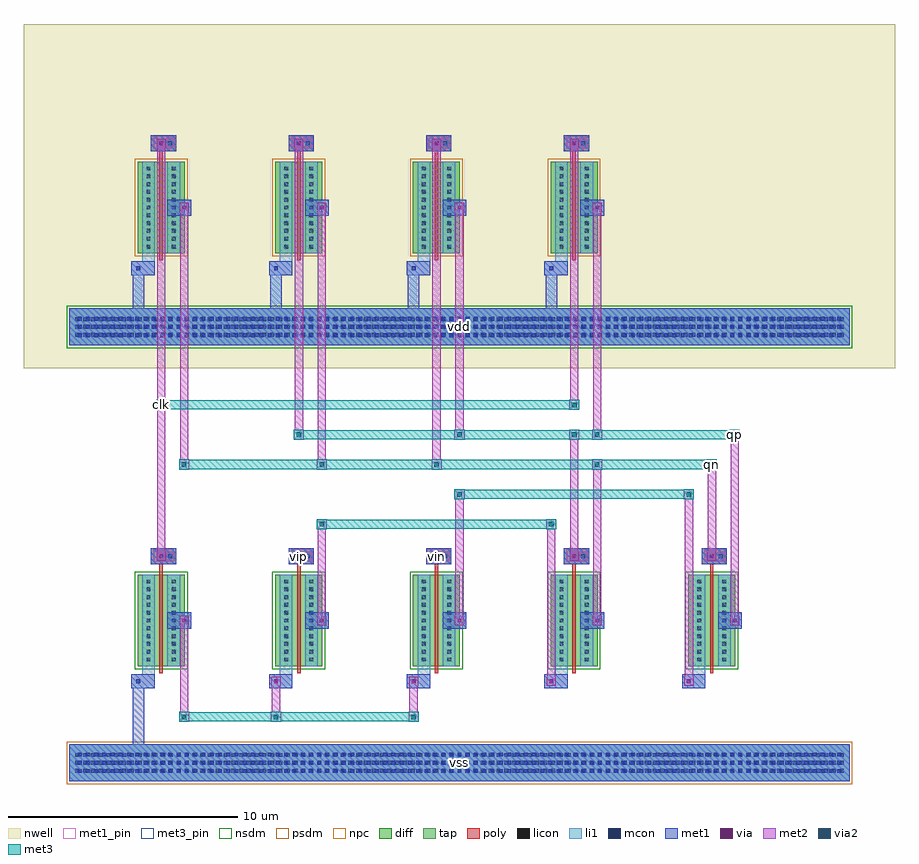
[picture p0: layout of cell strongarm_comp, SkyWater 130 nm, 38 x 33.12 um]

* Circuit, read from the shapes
.subckt strongarm_comp clk qn qp vdd vin vip vss
XM1 n1 clk vss vss sky130_fd_pr__nfet_01v8 w=4 l=0.15
XM2 n2 vip n1 vss sky130_fd_pr__nfet_01v8 w=4 l=0.15
XM3 n3 vin n1 vss sky130_fd_pr__nfet_01v8 w=4 l=0.15
XM4 qn qp n2 vss sky130_fd_pr__nfet_01v8 w=4 l=0.15
XM5 qp qn n3 vss sky130_fd_pr__nfet_01v8 w=4 l=0.15
XM6 qn clk vdd vdd sky130_fd_pr__pfet_01v8 w=4 l=0.15
XM7 qn qp vdd vdd sky130_fd_pr__pfet_01v8 w=4 l=0.15
XM8 qp qn vdd vdd sky130_fd_pr__pfet_01v8 w=4 l=0.15
XM9 qp clk vdd vdd sky130_fd_pr__pfet_01v8 w=4 l=0.15
.ends

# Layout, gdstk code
import gdstk
lib = gdstk.Library(unit=1e-6, precision=1e-09)
def R(c, l, rs):  # rectangles x0, y0, x1, y1
    for r in rs: c.add(gdstk.rectangle(r[:2], r[2:], *l))
def A(c, l, x, y, w, h, nx, ny, dx, dy):  # array of equal rectangles
    R(c, l, [(x+i*dx, y+j*dy, x+i*dx+w, y+j*dy+h) for i in range(nx) for j in range(ny)])
nwell = (64, 20)
diff = (65, 20)
tap = (65, 44)
poly = (66, 20)
licon = (66, 44)
li1 = (67, 20)
mcon = (67, 44)
met1_pin = (68, 16)
met1 = (68, 20)
via = (68, 44)
met2 = (69, 20)
via2 = (69, 44)
met3_pin = (70, 16)
met3 = (70, 20)
nsdm = (93, 44)
psdm = (94, 20)
npc = (95, 20)

strongarm_comp = lib.new_cell('strongarm_comp')
R(strongarm_comp, nwell, [(-2,19,36,34)])
A(strongarm_comp, diff, 2.97, 6, 2.05, 4, 5, 1, 6, 0)
A(strongarm_comp, diff, 2.97, 24, 2.05, 4, 4, 1, 6, 0)
R(strongarm_comp, tap, [(0,1,34,2.6), (0,20,34,21.6)])
A(strongarm_comp, poly, 3.92, 5.7, 0.15, 4.75, 5, 1, 6, 0)
A(strongarm_comp, poly, 3.55, 10.45, 1.1, 0.7, 5, 1, 6, 0)
A(strongarm_comp, poly, 3.92, 23.7, 0.15, 4.75, 4, 1, 6, 0)
A(strongarm_comp, poly, 3.55, 28.45, 1.1, 0.7, 4, 1, 6, 0)
A(strongarm_comp, licon, 0.255, 1.375, 0.17, 0.17, 99, 3, 0.34, 0.34)
A(strongarm_comp, licon, 3.36, 6.215, 0.17, 0.17, 1, 11, 0, 0.34)
A(strongarm_comp, licon, 4.46, 6.215, 0.17, 0.17, 1, 11, 0, 0.34)
A(strongarm_comp, licon, 9.36, 6.215, 0.17, 0.17, 1, 11, 0, 0.34)
A(strongarm_comp, licon, 10.46, 6.215, 0.17, 0.17, 1, 11, 0, 0.34)
A(strongarm_comp, licon, 15.36, 6.215, 0.17, 0.17, 1, 11, 0, 0.34)
A(strongarm_comp, licon, 16.46, 6.215, 0.17, 0.17, 1, 11, 0, 0.34)
A(strongarm_comp, licon, 21.36, 6.215, 0.17, 0.17, 1, 11, 0, 0.34)
A(strongarm_comp, licon, 22.46, 6.215, 0.17, 0.17, 1, 11, 0, 0.34)
A(strongarm_comp, licon, 27.36, 6.215, 0.17, 0.17, 1, 11, 0, 0.34)
A(strongarm_comp, licon, 28.46, 6.215, 0.17, 0.17, 1, 11, 0, 0.34)
A(strongarm_comp, licon, 4.3, 10.715, 0.17, 0.17, 5, 1, 6, 0)
A(strongarm_comp, licon, 0.255, 20.375, 0.17, 0.17, 99, 3, 0.34, 0.34)
A(strongarm_comp, licon, 3.36, 24.215, 0.17, 0.17, 1, 11, 0, 0.34)
A(strongarm_comp, licon, 4.46, 24.215, 0.17, 0.17, 1, 11, 0, 0.34)
A(strongarm_comp, licon, 9.36, 24.215, 0.17, 0.17, 1, 11, 0, 0.34)
A(strongarm_comp, licon, 10.46, 24.215, 0.17, 0.17, 1, 11, 0, 0.34)
A(strongarm_comp, licon, 15.36, 24.215, 0.17, 0.17, 1, 11, 0, 0.34)
A(strongarm_comp, licon, 16.46, 24.215, 0.17, 0.17, 1, 11, 0, 0.34)
A(strongarm_comp, licon, 21.36, 24.215, 0.17, 0.17, 1, 11, 0, 0.34)
A(strongarm_comp, licon, 22.46, 24.215, 0.17, 0.17, 1, 11, 0, 0.34)
A(strongarm_comp, licon, 4.3, 28.715, 0.17, 0.17, 4, 1, 6, 0)
A(strongarm_comp, li1, 2.7, 5.05, 1.02, 0.6, 5, 1, 6, 0)
A(strongarm_comp, li1, 3.17, 5.65, 0.55, 4.35, 5, 1, 6, 0)
A(strongarm_comp, li1, 4.27, 6, 0.55, 1.65, 5, 2, 6, 2.35)
A(strongarm_comp, li1, 4.27, 7.65, 1.03, 0.7, 5, 1, 6, 0)
A(strongarm_comp, li1, 3.55, 10.45, 1.1, 0.7, 5, 1, 6, 0)
A(strongarm_comp, li1, 2.7, 23.05, 1.02, 0.6, 4, 1, 6, 0)
A(strongarm_comp, li1, 3.17, 23.65, 0.55, 4.35, 4, 1, 6, 0)
A(strongarm_comp, li1, 4.27, 24, 0.55, 1.65, 4, 2, 6, 2.35)
A(strongarm_comp, li1, 4.27, 25.65, 1.03, 0.7, 4, 1, 6, 0)
A(strongarm_comp, li1, 3.55, 28.45, 1.1, 0.7, 4, 1, 6, 0)
R(strongarm_comp, li1, [(0,1,34,2.6), (0,20,34,21.6)])
A(strongarm_comp, mcon, 0.355, 1.355, 0.17, 0.17, 93, 3, 0.36, 0.36)
A(strongarm_comp, mcon, 2.915, 5.265, 0.17, 0.17, 5, 1, 6, 0)
A(strongarm_comp, mcon, 4.915, 7.915, 0.17, 0.17, 5, 1, 6, 0)
A(strongarm_comp, mcon, 3.915, 10.715, 0.17, 0.17, 5, 1, 6, 0)
A(strongarm_comp, mcon, 0.355, 20.355, 0.17, 0.17, 93, 3, 0.36, 0.36)
A(strongarm_comp, mcon, 2.915, 23.265, 0.17, 0.17, 4, 1, 6, 0)
A(strongarm_comp, mcon, 4.915, 25.915, 0.17, 0.17, 4, 1, 6, 0)
A(strongarm_comp, mcon, 3.915, 28.715, 0.17, 0.17, 4, 1, 6, 0)
R(strongarm_comp, met1_pin, [(0,1,34,2.6), (9.8,10.6,10.2,11), (15.8,10.6,16.2,11), (0,20,34,21.6)])
A(strongarm_comp, met1, 2.7, 5.05, 1.02, 0.6, 5, 1, 6, 0)
A(strongarm_comp, met1, 4.27, 7.65, 1.03, 0.7, 5, 1, 6, 0)
A(strongarm_comp, met1, 3.55, 10.45, 1.1, 0.7, 5, 1, 6, 0)
A(strongarm_comp, met1, 2.75, 21.6, 0.5, 1.45, 4, 1, 6, 0)
A(strongarm_comp, met1, 2.7, 23.05, 1.02, 0.6, 4, 1, 6, 0)
A(strongarm_comp, met1, 4.27, 25.65, 1.03, 0.7, 4, 1, 6, 0)
A(strongarm_comp, met1, 3.55, 28.45, 1.1, 0.7, 4, 1, 6, 0)
R(strongarm_comp, met1, [(0,1,34,2.6), (2.75,2.6,3.25,5.05), (0,20,34,21.6)])
A(strongarm_comp, via, 8.925, 5.275, 0.15, 0.15, 4, 1, 6, 0)
A(strongarm_comp, via, 4.925, 7.925, 0.15, 0.15, 5, 1, 6, 0)
A(strongarm_comp, via, 4.925, 25.925, 0.15, 0.15, 4, 1, 6, 0)
A(strongarm_comp, via, 3.925, 28.725, 0.15, 0.15, 4, 1, 6, 0)
R(strongarm_comp, via, [(3.925,10.725,4.075,10.875), (21.925,10.725,22.075,10.875), (27.925,10.725,28.075,10.875)])
A(strongarm_comp, met2, 8.8, 5.15, 0.4, 0.4, 4, 1, 6, 0)
A(strongarm_comp, met2, 4.8, 7.8, 0.4, 0.4, 5, 1, 6, 0)
A(strongarm_comp, met2, 4.8, 25.8, 0.4, 0.4, 4, 1, 6, 0)
A(strongarm_comp, met2, 3.8, 28.6, 0.4, 0.4, 4, 1, 6, 0)
R(strongarm_comp, met2, [(4.78,3.58,5.22,4.02), (8.78,3.58,9.22,4.02), (14.78,3.58,15.22,4.02), (4.82,4.02,5.18,7.8), (8.82,4.02,9.18,5.15), (14.82,4.02,15.18,5.15), (20.82,5.55,21.18,11.98), (26.82,5.55,27.18,13.28), (10.82,8.2,11.18,11.98), (16.82,8.2,17.18,13.28), (22.82,8.2,23.18,14.58), (28.82,8.2,29.18,15.88), (3.8,10.6,4.2,11), (21.8,10.6,22.2,11), (27.8,10.6,28.2,11), (3.82,11,4.18,17.18), (21.82,11,22.18,15.88), (27.82,11,28.18,14.58), (10.78,11.98,11.22,12.42), (20.78,11.98,21.22,12.42), (16.78,13.28,17.22,13.72), (26.78,13.28,27.22,13.72), (4.78,14.58,5.22,15.02), (10.78,14.58,11.22,15.02), (15.78,14.58,16.22,15.02), (22.78,14.58,23.22,15.02), (27.78,14.58,28.22,15.02), (4.82,15.02,5.18,25.8), (10.82,15.02,11.18,25.8), (15.82,15.02,16.18,28.6), (9.78,15.88,10.22,16.32), (16.78,15.88,17.22,16.32), (21.78,15.88,22.22,16.32), (22.78,15.88,23.22,16.32), (28.78,15.88,29.22,16.32), (9.82,16.32,10.18,28.6), (16.82,16.32,17.18,25.8), (22.82,16.32,23.18,25.8), (3.78,17.18,4.22,17.62), (21.78,17.18,22.22,17.62), (3.82,17.62,4.18,28.6), (21.82,17.62,22.18,28.6)])
R(strongarm_comp, via2, [(4.9,3.7,5.1,3.9), (8.9,3.7,9.1,3.9), (14.9,3.7,15.1,3.9), (10.9,12.1,11.1,12.3), (20.9,12.1,21.1,12.3), (16.9,13.4,17.1,13.6), (26.9,13.4,27.1,13.6), (4.9,14.7,5.1,14.9), (10.9,14.7,11.1,14.9), (15.9,14.7,16.1,14.9), (22.9,14.7,23.1,14.9), (27.9,14.7,28.1,14.9), (9.9,16,10.1,16.2), (16.9,16,17.1,16.2), (21.9,16,22.1,16.2), (22.9,16,23.1,16.2), (28.9,16,29.1,16.2), (3.9,17.3,4.1,17.5), (21.9,17.3,22.1,17.5)])
R(strongarm_comp, met3_pin, [(27.8,14.6,28.2,15), (28.8,15.9,29.2,16.3), (3.8,17.2,4.2,17.6)])
R(strongarm_comp, met3, [(4.78,3.58,5.22,3.6), (8.78,3.58,9.22,3.6), (14.78,3.58,15.22,3.6), (4.78,3.6,15.22,4), (4.78,4,5.22,4.02), (8.78,4,9.22,4.02), (14.78,4,15.22,4.02), (10.78,11.98,11.22,12), (20.78,11.98,21.22,12), (10.78,12,21.22,12.4), (10.78,12.4,11.22,12.42), (20.78,12.4,21.22,12.42), (16.78,13.28,17.22,13.3), (26.78,13.28,27.22,13.3), (16.78,13.3,27.22,13.7), (16.78,13.7,17.22,13.72), (26.78,13.7,27.22,13.72), (4.78,14.58,5.22,14.6), (10.78,14.58,11.22,14.6), (15.78,14.58,16.22,14.6), (22.78,14.58,23.22,14.6), (27.78,14.58,28.22,14.6), (4.78,14.6,28.22,15), (4.78,15,5.22,15.02), (10.78,15,11.22,15.02), (15.78,15,16.22,15.02), (22.78,15,23.22,15.02), (27.78,15,28.22,15.02), (9.78,15.88,10.22,15.9), (16.78,15.88,17.22,15.9), (21.78,15.88,22.22,15.9), (22.78,15.88,23.22,15.9), (28.78,15.88,29.22,15.9), (9.78,15.9,29.22,16.3), (9.78,16.3,10.22,16.32), (16.78,16.3,17.22,16.32), (21.78,16.3,22.22,16.32), (22.78,16.3,23.22,16.32), (28.78,16.3,29.22,16.32), (3.78,17.18,4.22,17.2), (21.78,17.18,22.22,17.2), (3.78,17.2,22.22,17.6), (3.78,17.6,4.22,17.62), (21.78,17.6,22.22,17.62)])
A(strongarm_comp, nsdm, 2.845, 5.875, 2.3, 4.25, 5, 1, 6, 0)
R(strongarm_comp, nsdm, [(-0.125,19.875,34.125,21.725)])
A(strongarm_comp, psdm, 2.845, 23.875, 2.3, 4.25, 4, 1, 6, 0)
R(strongarm_comp, psdm, [(-0.125,0.875,34.125,2.725)])
A(strongarm_comp, npc, 4.2, 10.615, 0.37, 0.37, 5, 1, 6, 0)
A(strongarm_comp, npc, 4.2, 28.615, 0.37, 0.37, 4, 1, 6, 0)
strongarm_comp.add(gdstk.Label('vip', (10,10.8), layer=68, texttype=5))
strongarm_comp.add(gdstk.Label('vin', (16,10.8), layer=68, texttype=5))
strongarm_comp.add(gdstk.Label('clk', (4,17.4), layer=70, texttype=5))
strongarm_comp.add(gdstk.Label('qp', (29,16.1), layer=70, texttype=5))
strongarm_comp.add(gdstk.Label('qn', (28,14.8), layer=70, texttype=5))
strongarm_comp.add(gdstk.Label('vdd', (17,20.8), layer=68, texttype=5))
strongarm_comp.add(gdstk.Label('vss', (17,1.8), layer=68, texttype=5))

lib.write_gds('strongarm_comp.gds')
